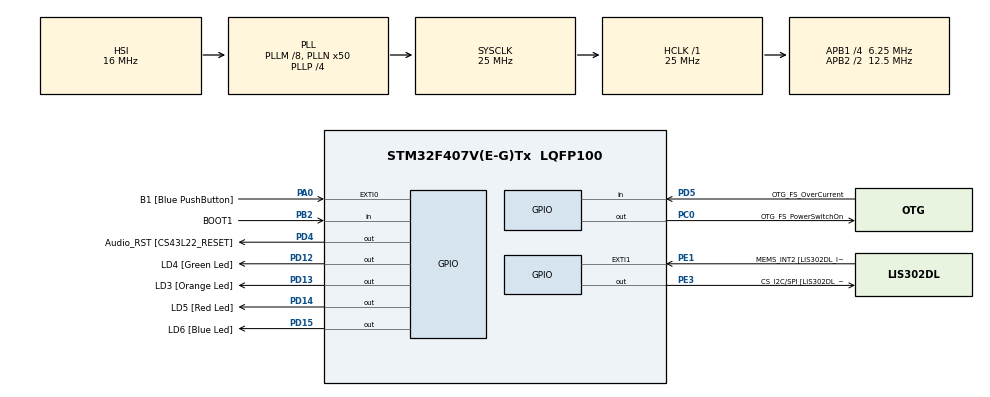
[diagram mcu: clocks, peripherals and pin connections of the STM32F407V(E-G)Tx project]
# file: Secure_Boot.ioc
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Mcu.Family=STM32F4
Mcu.Name=STM32F407V(E-G)Tx
Mcu.Package=LQFP100
NVIC.PriorityGroup=NVIC_PRIORITYGROUP_0
PA0-WKUP.GPIO_Label=B1 [Blue PushButton]
PA0-WKUP.Signal=GPXTI0
PA10.GPIO_Label=OTG_FS_ID
PA10.GPIO_Mode=GPIO_MODE_AF_PP
PA10.GPIO_PuPd=GPIO_NOPULL
PA10.GPIO_Speed=GPIO_SPEED_FREQ_LOW
PA10.Signal=USB_OTG_FS_ID
PA11.GPIO_Label=OTG_FS_DM
PA11.GPIO_Mode=GPIO_MODE_AF_PP
PA11.GPIO_PuPd=GPIO_NOPULL
PA11.GPIO_Speed=GPIO_SPEED_FREQ_LOW
PA11.Signal=USB_OTG_FS_DM
PA12.GPIO_Label=OTG_FS_DP
PA12.GPIO_Mode=GPIO_MODE_AF_PP
PA12.GPIO_PuPd=GPIO_NOPULL
PA12.GPIO_Speed=GPIO_SPEED_FREQ_LOW
PA12.Signal=USB_OTG_FS_DP
PA13.GPIO_Label=SWDIO
PA13.Signal=SYS_JTMS-SWDIO
PA14.GPIO_Label=SWCLK
PA14.Signal=SYS_JTCK-SWCLK
PA4.GPIO_Label=I2S3_WS [CS43L22_LRCK]
PA4.GPIO_Mode=GPIO_MODE_AF_PP
PA4.GPIO_PuPd=GPIO_NOPULL
PA4.GPIO_Speed=GPIO_SPEED_FREQ_LOW
PA4.Signal=I2S3_WS
PA5.GPIO_Label=SPI1_SCK [LIS302DL_SCL/SPC]
PA5.GPIO_Mode=GPIO_MODE_AF_PP
PA5.GPIO_PuPd=GPIO_NOPULL
PA5.GPIO_Speed=GPIO_SPEED_FREQ_LOW
PA5.Signal=SPI1_SCK
PA6.GPIO_Label=SPI1_MISO [LIS302DL_SDO]
PA6.GPIO_Mode=GPIO_MODE_AF_PP
PA6.GPIO_PuPd=GPIO_NOPULL
PA6.GPIO_Speed=GPIO_SPEED_FREQ_LOW
PA6.Signal=SPI1_MISO
PA7.GPIO_Label=SPI1_MOSI [LIS302DL_SDA/SDI/SDO]
PA7.GPIO_Mode=GPIO_MODE_AF_PP
PA7.GPIO_PuPd=GPIO_NOPULL
PA7.GPIO_Speed=GPIO_SPEED_FREQ_LOW
PA7.Signal=SPI1_MOSI
PA9.GPIO_Label=VBUS_FS
PA9.GPIO_Mode=GPIO_MODE_INPUT
PA9.GPIO_PuPd=GPIO_NOPULL
PA9.Signal=USB_OTG_FS_VBUS
PB10.GPIO_Label=CLK_IN [MP45DT02_CLK]
PB10.GPIO_Mode=GPIO_MODE_AF_PP
PB10.GPIO_PuPd=GPIO_NOPULL
PB10.GPIO_Speed=GPIO_SPEED_FREQ_LOW
PB10.Signal=I2S2_CK
PB2.GPIO_Label=BOOT1
PB2.GPIO_Mode=GPIO_MODE_INPUT
PB2.GPIO_PuPd=GPIO_NOPULL
PB2.Signal=GPIO_Input
PB3.GPIO_Label=SWO
PB3.Signal=SYS_JTDO-SWO
PB6.GPIO_Label=Audio_SCL [CS43L22_SCL]
PB6.GPIO_Mode=GPIO_MODE_AF_OD
PB6.GPIO_PuPd=GPIO_NOPULL
PB6.GPIO_Speed=GPIO_SPEED_FREQ_LOW
PB6.Signal=I2C1_SCL
PB9.GPIO_Label=Audio_SDA [CS43L22_SDA]
PB9.GPIO_Mode=GPIO_MODE_AF_OD
PB9.GPIO_PuPd=GPIO_NOPULL
PB9.GPIO_Speed=GPIO_SPEED_FREQ_LOW
PB9.Signal=I2C1_SDA
PC0.GPIO_Label=OTG_FS_PowerSwitchOn
PC0.GPIO_PuPd=GPIO_NOPULL
PC0.GPIO_Speed=GPIO_SPEED_FREQ_LOW
PC0.PinState=GPIO_PIN_SET
PC0.Signal=GPIO_Output
PC10.GPIO_Label=I2S3_SCK [CS43L22_SCLK]
PC10.GPIO_Mode=GPIO_MODE_AF_PP
PC10.GPIO_PuPd=GPIO_NOPULL
PC10.GPIO_Speed=GPIO_SPEED_FREQ_LOW
PC10.Signal=I2S3_CK
PC12.GPIO_Label=I2S3_SD [CS43L22_SDIN]
PC12.GPIO_Mode=GPIO_MODE_AF_PP
PC12.GPIO_PuPd=GPIO_NOPULL
PC12.GPIO_Speed=GPIO_SPEED_FREQ_LOW
PC12.Signal=I2S3_SD
PC14-OSC32_IN.GPIO_Label=PC14-OSC32_IN
PC14-OSC32_IN.Signal=RCC_OSC32_IN
PC15-OSC32_OUT.GPIO_Label=PC15-OSC32_OUT
PC15-OSC32_OUT.Signal=RCC_OSC32_OUT
PC3.GPIO_Label=PDM_OUT [MP45DT02_DOUT]
PC3.GPIO_Mode=GPIO_MODE_AF_PP
PC3.GPIO_PuPd=GPIO_NOPULL
PC3.GPIO_Speed=GPIO_SPEED_FREQ_LOW
PC3.Signal=I2S2_SD
PC7.GPIO_Label=I2S3_MCK [CS43L22_MCLK]
PC7.GPIO_Mode=GPIO_MODE_AF_PP
PC7.GPIO_PuPd=GPIO_NOPULL
PC7.GPIO_Speed=GPIO_SPEED_FREQ_LOW
PC7.Signal=I2S3_MCK
PD12.GPIO_Label=LD4 [Green Led]
PD12.GPIO_PuPd=GPIO_NOPULL
PD12.GPIO_Speed=GPIO_SPEED_FREQ_LOW
PD12.Signal=GPIO_Output
PD13.GPIO_Label=LD3 [Orange Led]
PD13.GPIO_PuPd=GPIO_NOPULL
PD13.GPIO_Speed=GPIO_SPEED_FREQ_LOW
PD13.Signal=GPIO_Output
PD14.GPIO_Label=LD5 [Red Led]
PD14.GPIO_PuPd=GPIO_NOPULL
PD14.GPIO_Speed=GPIO_SPEED_FREQ_LOW
PD14.Signal=GPIO_Output
PD15.GPIO_Label=LD6 [Blue Led]
PD15.GPIO_PuPd=GPIO_NOPULL
PD15.GPIO_Speed=GPIO_SPEED_FREQ_LOW
PD15.Signal=GPIO_Output
PD4.GPIO_Label=Audio_RST [CS43L22_RESET]
PD4.GPIO_PuPd=GPIO_NOPULL
PD4.GPIO_Speed=GPIO_SPEED_FREQ_LOW
PD4.Signal=GPIO_Output
PD5.GPIO_Label=OTG_FS_OverCurrent
PD5.GPIO_Mode=GPIO_MODE_INPUT
PD5.GPIO_PuPd=GPIO_NOPULL
PD5.Signal=GPIO_Input
PE1.GPIO_Label=MEMS_INT2 [LIS302DL_INT2]
PE1.GPIO_ModeDefaultEXTI=GPIO_MODE_EVT_RISING
PE1.GPIO_PuPd=GPIO_NOPULL
PE1.Signal=GPXTI1
PE3.GPIO_Label=CS_I2C/SPI [LIS302DL_CS_I2C/SPI]
PE3.GPIO_PuPd=GPIO_NOPULL
PE3.GPIO_Speed=GPIO_SPEED_FREQ_LOW
PE3.Signal=GPIO_Output
PH0-OSC_IN.GPIO_Label=PH0-OSC_IN
PH0-OSC_IN.Signal=RCC_OSC_IN
PH1-OSC_OUT.GPIO_Label=PH1-OSC_OUT
PH1-OSC_OUT.Signal=RCC_OSC_OUT
ProjectManager.HeapSize=0x200
ProjectManager.StackSize=0x400
ProjectManager.TargetToolchain=STM32CubeIDE
RCC.48MHZClocksFreq_Value=14285714.285714285
RCC.AHBFreq_Value=25000000
RCC.APB1CLKDivider=RCC_HCLK_DIV4
RCC.APB1Freq_Value=6250000
RCC.APB1TimFreq_Value=12500000
RCC.APB2CLKDivider=RCC_HCLK_DIV2
RCC.APB2Freq_Value=12500000
RCC.APB2TimFreq_Value=25000000
RCC.CortexFreq_Value=25000000
RCC.HCLKFreq_Value=25000000
RCC.HSE_VALUE=8000000
RCC.HSI_VALUE=16000000
RCC.LSE_VALUE=32768
RCC.PLLM=8
RCC.PLLN=50
RCC.PLLP=RCC_PLLP_DIV4
RCC.PLLQ=7
RCC.SYSCLKFreq_VALUE=25000000
RCC.SYSCLKSource=RCC_SYSCLKSOURCE_PLLCLK
RCC.VCOOutputFreq_Value=100000000
board=STM32F407G-DISC1

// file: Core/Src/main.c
/* USER CODE BEGIN Header */
/**
  ******************************************************************************
  * @file           : main.c
  * @brief          : Main program body
  ******************************************************************************
  * @attention
  *
  * Copyright (c) 2026 STMicroelectronics.
  * All rights reserved.
  *
  * This software is licensed under terms that can be found in the LICENSE file
  * in the root directory of this software component.
  * If no LICENSE file comes with this software, it is provided AS-IS.
  *
  ******************************************************************************
  */
/* USER CODE END Header */
#include <app_image_info.h>
#include "main.h"

/* USER CODE BEGIN Includes */
#include <stdio.h>
#include <string.h>
#include <stdbool.h>
#include "sha256.h"
#include "metadata.h"
#include "flash_storage.h"
#include "image_validation.h"
/* USER CODE END Includes */

/* USER CODE BEGIN PM */
#define SRAM_START_ADDRESS                 0x20000000U
#define SRAM_END_ADDRESS                   0x20020000U

#define CANDIDATE_IMAGE_START              0x08010000U
#define CANDIDATE_IMAGE_REGION_END         0x08020000U

#define FLASH_ACTIVE_METADATA_ADDRESS      0x08008000U
#define FLASH_CANDIDATE_METADATA_ADDRESS   0x0800C000U

#define ACTIVE_IMAGE_REGION_END  0x08100000U

//#define UPDATE_SECTOR_2
/* USER CODE END PM */

void SystemClock_Config(void);
static void MX_GPIO_Init(void);
/* USER CODE BEGIN PFP */
static void JumpToApplication(uint32_t image_start, uint32_t image_end);
static HAL_StatusTypeDef UpdateActiveMetadata(
    const uint8_t *digest) __attribute__((unused));
static void Bootloader_FailSafe(void);
/* USER CODE END PFP */

int main(void)
{

  /* USER CODE BEGIN 1 */
  firmware_metadata_t active_metadata;
  firmware_metadata_t candidate_metadata;

  HAL_StatusTypeDef status;

  bool candidate_metadata_valid = false;

  uint8_t candidate_digest[SHA256_DIGEST_SIZE];
  uint32_t candidate_image_end;
  uint8_t active_digest[SHA256_DIGEST_SIZE];
  /* USER CODE END 1 */

  /* MCU Configuration--------------------------------------------------------*/

  /* Reset of all peripherals, Initializes the Flash interface and the Systick. */
  HAL_Init();

  /* Configure the system clock */
  SystemClock_Config();

  /* Initialize all configured peripherals */
  MX_GPIO_Init();
  /* USER CODE BEGIN 2 */

  #ifdef UPDATE_SECTOR_2

      uint8_t metadata_digest[SHA256_DIGEST_SIZE];

      printf("Updating active metadata in Sector 2\r\n");

      /*
       * Calculate SHA-256 of the current active image.
       */
      ImageValidation_CalculateSHA256(
          APP_IMAGE_START,
          APP_IMAGE_SIZE,
          metadata_digest);

      /*
       * Erase Sector 2 and program active metadata.
       */
      status = UpdateActiveMetadata(metadata_digest);

      if (status != HAL_OK)
      {
          printf("Failed to update active metadata\r\n");
          Bootloader_FailSafe();
      }

      printf("Active metadata updated successfully\r\n");

      /*
       * Stop here.
       * Do not execute the normal bootloader flow.
       */
      while (1)
      {
      }

  #else

      /* Read Active Image Metadata */

      status = FlashStorage_ReadMetadata(
          FLASH_ACTIVE_METADATA_ADDRESS,
          &active_metadata);

      if (status != HAL_OK)
      {
          printf("Failed to read active metadata\r\n");
          Bootloader_FailSafe();
      }

      if (!Metadata_Validate(&active_metadata,
                             APP_IMAGE_START,
                             ACTIVE_IMAGE_REGION_END))
      {
          printf("Invalid Active Image Metadata\r\n");
          Bootloader_FailSafe();
      }

      /* Read Candidate Image Metadata */

      status = FlashStorage_ReadMetadata(
          FLASH_CANDIDATE_METADATA_ADDRESS,
          &candidate_metadata);

      if (status != HAL_OK)
      {
          printf("Failed to read candidate metadata\r\n");
          candidate_metadata_valid = false;
      }
      else
      {
          candidate_metadata_valid =
              Metadata_Validate(&candidate_metadata,
                                CANDIDATE_IMAGE_START,
                                CANDIDATE_IMAGE_REGION_END);

          if (!candidate_metadata_valid)
          {
              printf("Invalid Candidate Image Metadata\r\n");
          }
      }

      /* Handle Candidate Image */

      if (candidate_metadata_valid &&
          Metadata_IsCandidateNewer(&active_metadata,
                                    &candidate_metadata))
      {
          printf("New candidate firmware detected\r\n");

          candidate_image_end =
              CANDIDATE_IMAGE_START +
              candidate_metadata.image_size;

          printf("Calculating candidate SHA-256\r\n");

          ImageValidation_CalculateSHA256(
              CANDIDATE_IMAGE_START,
              candidate_metadata.image_size,
              candidate_digest);

          if (ImageValidation_VerifySHA256(
                  candidate_digest,
                  candidate_metadata.sha256))
          {
              printf("Candidate SHA-256 matched\r\n");
              printf("Booting candidate image\r\n");

              JumpToApplication(
                  CANDIDATE_IMAGE_START,
                  candidate_image_end);
          }
          else
          {
              printf("Candidate SHA-256 mismatch\r\n");
              printf("Candidate image rejected\r\n");
          }
      }

      /* Verify Active Image and use it as fallback */

      {
          uint32_t active_image_end =
              APP_IMAGE_START + active_metadata.image_size;

          printf("Calculating active SHA-256\r\n");

          ImageValidation_CalculateSHA256(
              APP_IMAGE_START,
              active_metadata.image_size,
              active_digest);

          if (ImageValidation_VerifySHA256(
                  active_digest,
                  active_metadata.sha256))
          {
              printf("Active SHA-256 matched\r\n");

              JumpToApplication(
                  APP_IMAGE_START,
                  active_image_end);
          }

          printf("Active SHA-256 mismatch\r\n");
          Bootloader_FailSafe();
      }

  #endif

  /* USER CODE END 2 */

  /* Infinite loop */
  while (1)
  {

  }
}

void SystemClock_Config(void)
{
  RCC_OscInitTypeDef RCC_OscInitStruct = {0};
  RCC_ClkInitTypeDef RCC_ClkInitStruct = {0};

  /** Configure the main internal regulator output voltage
  */
  __HAL_RCC_PWR_CLK_ENABLE();
  __HAL_PWR_VOLTAGESCALING_CONFIG(PWR_REGULATOR_VOLTAGE_SCALE1);

  /** Initializes the RCC Oscillators according to the specified parameters
  * in the RCC_OscInitTypeDef structure.
  */
  RCC_OscInitStruct.OscillatorType = RCC_OSCILLATORTYPE_HSI;
  RCC_OscInitStruct.HSIState = RCC_HSI_ON;
  RCC_OscInitStruct.HSICalibrationValue = RCC_HSICALIBRATION_DEFAULT;
  RCC_OscInitStruct.PLL.PLLState = RCC_PLL_ON;
  RCC_OscInitStruct.PLL.PLLSource = RCC_PLLSOURCE_HSI;
  RCC_OscInitStruct.PLL.PLLM = 8;
  RCC_OscInitStruct.PLL.PLLN = 50;
  RCC_OscInitStruct.PLL.PLLP = RCC_PLLP_DIV4;
  RCC_OscInitStruct.PLL.PLLQ = 7;
  if (HAL_RCC_OscConfig(&RCC_OscInitStruct) != HAL_OK)
  {
    Error_Handler();
  }

  /** Initializes the CPU, AHB and APB buses clocks
  */
  RCC_ClkInitStruct.ClockType = RCC_CLOCKTYPE_HCLK|RCC_CLOCKTYPE_SYSCLK
                              |RCC_CLOCKTYPE_PCLK1|RCC_CLOCKTYPE_PCLK2;
  RCC_ClkInitStruct.SYSCLKSource = RCC_SYSCLKSOURCE_PLLCLK;
  RCC_ClkInitStruct.AHBCLKDivider = RCC_SYSCLK_DIV1;
  RCC_ClkInitStruct.APB1CLKDivider = RCC_HCLK_DIV4;
  RCC_ClkInitStruct.APB2CLKDivider = RCC_HCLK_DIV2;

  if (HAL_RCC_ClockConfig(&RCC_ClkInitStruct, FLASH_LATENCY_0) != HAL_OK)
  {
    Error_Handler();
  }
}

static void MX_GPIO_Init(void)
{
  GPIO_InitTypeDef GPIO_InitStruct = {0};

  /* GPIO Ports Clock Enable */
  __HAL_RCC_GPIOE_CLK_ENABLE();
  __HAL_RCC_GPIOC_CLK_ENABLE();
  __HAL_RCC_GPIOH_CLK_ENABLE();
  __HAL_RCC_GPIOA_CLK_ENABLE();
  __HAL_RCC_GPIOB_CLK_ENABLE();
  __HAL_RCC_GPIOD_CLK_ENABLE();

  /*Configure GPIO pin Output Level */
  HAL_GPIO_WritePin(CS_I2C_SPI_GPIO_Port, CS_I2C_SPI_Pin, GPIO_PIN_RESET);

  /*Configure GPIO pin Output Level */
  HAL_GPIO_WritePin(OTG_FS_PowerSwitchOn_GPIO_Port, OTG_FS_PowerSwitchOn_Pin, GPIO_PIN_SET);

  /*Configure GPIO pin Output Level */
  HAL_GPIO_WritePin(GPIOD, LD4_Pin|LD3_Pin|LD5_Pin|LD6_Pin
                          |Audio_RST_Pin, GPIO_PIN_RESET);

  /*Configure GPIO pin : CS_I2C_SPI_Pin */
  GPIO_InitStruct.Pin = CS_I2C_SPI_Pin;
  GPIO_InitStruct.Mode = GPIO_MODE_OUTPUT_PP;
  GPIO_InitStruct.Pull = GPIO_NOPULL;
  GPIO_InitStruct.Speed = GPIO_SPEED_FREQ_LOW;
  HAL_GPIO_Init(CS_I2C_SPI_GPIO_Port, &GPIO_InitStruct);

  /*Configure GPIO pin : OTG_FS_PowerSwitchOn_Pin */
  GPIO_InitStruct.Pin = OTG_FS_PowerSwitchOn_Pin;
  GPIO_InitStruct.Mode = GPIO_MODE_OUTPUT_PP;
  GPIO_InitStruct.Pull = GPIO_NOPULL;
  GPIO_InitStruct.Speed = GPIO_SPEED_FREQ_LOW;
  HAL_GPIO_Init(OTG_FS_PowerSwitchOn_GPIO_Port, &GPIO_InitStruct);

  /*Configure GPIO pin : PDM_OUT_Pin */
  GPIO_InitStruct.Pin = PDM_OUT_Pin;
  GPIO_InitStruct.Mode = GPIO_MODE_AF_PP;
  GPIO_InitStruct.Pull = GPIO_NOPULL;
  GPIO_InitStruct.Speed = GPIO_SPEED_FREQ_LOW;
  GPIO_InitStruct.Alternate = GPIO_AF5_SPI2;
  HAL_GPIO_Init(PDM_OUT_GPIO_Port, &GPIO_InitStruct);

  /*Configure GPIO pin : B1_Pin */
  GPIO_InitStruct.Pin = B1_Pin;
  GPIO_InitStruct.Mode = GPIO_MODE_IT_RISING;
  GPIO_InitStruct.Pull = GPIO_NOPULL;
  HAL_GPIO_Init(B1_GPIO_Port, &GPIO_InitStruct);

  /*Configure GPIO pin : I2S3_WS_Pin */
  GPIO_InitStruct.Pin = I2S3_WS_Pin;
  GPIO_InitStruct.Mode = GPIO_MODE_AF_PP;
  GPIO_InitStruct.Pull = GPIO_NOPULL;
  GPIO_InitStruct.Speed = GPIO_SPEED_FREQ_LOW;
  GPIO_InitStruct.Alternate = GPIO_AF6_SPI3;
  HAL_GPIO_Init(I2S3_WS_GPIO_Port, &GPIO_InitStruct);

  /*Configure GPIO pins : SPI1_SCK_Pin SPI1_MISO_Pin SPI1_MOSI_Pin */
  GPIO_InitStruct.Pin = SPI1_SCK_Pin|SPI1_MISO_Pin|SPI1_MOSI_Pin;
  GPIO_InitStruct.Mode = GPIO_MODE_AF_PP;
  GPIO_InitStruct.Pull = GPIO_NOPULL;
  GPIO_InitStruct.Speed = GPIO_SPEED_FREQ_LOW;
  GPIO_InitStruct.Alternate = GPIO_AF5_SPI1;
  HAL_GPIO_Init(GPIOA, &GPIO_InitStruct);

  /*Configure GPIO pin : BOOT1_Pin */
  GPIO_InitStruct.Pin = BOOT1_Pin;
  GPIO_InitStruct.Mode = GPIO_MODE_INPUT;
  GPIO_InitStruct.Pull = GPIO_NOPULL;
  HAL_GPIO_Init(BOOT1_GPIO_Port, &GPIO_InitStruct);

  /*Configure GPIO pin : CLK_IN_Pin */
  GPIO_InitStruct.Pin = CLK_IN_Pin;
  GPIO_InitStruct.Mode = GPIO_MODE_AF_PP;
  GPIO_InitStruct.Pull = GPIO_NOPULL;
  GPIO_InitStruct.Speed = GPIO_SPEED_FREQ_LOW;
  GPIO_InitStruct.Alternate = GPIO_AF5_SPI2;
  HAL_GPIO_Init(CLK_IN_GPIO_Port, &GPIO_InitStruct);

  /*Configure GPIO pins : LD4_Pin LD3_Pin LD5_Pin LD6_Pin
                           Audio_RST_Pin */
  GPIO_InitStruct.Pin = LD4_Pin|LD3_Pin|LD5_Pin|LD6_Pin
                          |Audio_RST_Pin;
  GPIO_InitStruct.Mode = GPIO_MODE_OUTPUT_PP;
  GPIO_InitStruct.Pull = GPIO_NOPULL;
  GPIO_InitStruct.Speed = GPIO_SPEED_FREQ_LOW;
  HAL_GPIO_Init(GPIOD, &GPIO_InitStruct);

  /*Configure GPIO pins : I2S3_MCK_Pin I2S3_SCK_Pin I2S3_SD_Pin */
  GPIO_InitStruct.Pin = I2S3_MCK_Pin|I2S3_SCK_Pin|I2S3_SD_Pin;
  GPIO_InitStruct.Mode = GPIO_MODE_AF_PP;
  GPIO_InitStruct.Pull = GPIO_NOPULL;
  GPIO_InitStruct.Speed = GPIO_SPEED_FREQ_LOW;
  GPIO_InitStruct.Alternate = GPIO_AF6_SPI3;
  HAL_GPIO_Init(GPIOC, &GPIO_InitStruct);

  /*Configure GPIO pin : VBUS_FS_Pin */
  GPIO_InitStruct.Pin = VBUS_FS_Pin;
  GPIO_InitStruct.Mode = GPIO_MODE_INPUT;
  GPIO_InitStruct.Pull = GPIO_NOPULL;
  HAL_GPIO_Init(VBUS_FS_GPIO_Port, &GPIO_InitStruct);

  /*Configure GPIO pins : OTG_FS_ID_Pin OTG_FS_DM_Pin OTG_FS_DP_Pin */
  GPIO_InitStruct.Pin = OTG_FS_ID_Pin|OTG_FS_DM_Pin|OTG_FS_DP_Pin;
  GPIO_InitStruct.Mode = GPIO_MODE_AF_PP;
  GPIO_InitStruct.Pull = GPIO_NOPULL;
  GPIO_InitStruct.Speed = GPIO_SPEED_FREQ_LOW;
  GPIO_InitStruct.Alternate = GPIO_AF10_OTG_FS;
  HAL_GPIO_Init(GPIOA, &GPIO_InitStruct);

  /*Configure GPIO pin : OTG_FS_OverCurrent_Pin */
  GPIO_InitStruct.Pin = OTG_FS_OverCurrent_Pin;
  GPIO_InitStruct.Mode = GPIO_MODE_INPUT;
  GPIO_InitStruct.Pull = GPIO_NOPULL;
  HAL_GPIO_Init(OTG_FS_OverCurrent_GPIO_Port, &GPIO_InitStruct);

  /*Configure GPIO pins : Audio_SCL_Pin Audio_SDA_Pin */
  GPIO_InitStruct.Pin = Audio_SCL_Pin|Audio_SDA_Pin;
  GPIO_InitStruct.Mode = GPIO_MODE_AF_OD;
  GPIO_InitStruct.Pull = GPIO_NOPULL;
  GPIO_InitStruct.Speed = GPIO_SPEED_FREQ_LOW;
  GPIO_InitStruct.Alternate = GPIO_AF4_I2C1;
  HAL_GPIO_Init(GPIOB, &GPIO_InitStruct);

  /*Configure GPIO pin : MEMS_INT2_Pin */
  GPIO_InitStruct.Pin = MEMS_INT2_Pin;
  GPIO_InitStruct.Mode = GPIO_MODE_EVT_RISING;
  GPIO_InitStruct.Pull = GPIO_NOPULL;
  HAL_GPIO_Init(MEMS_INT2_GPIO_Port, &GPIO_InitStruct);

}

/* USER CODE BEGIN 4 */
static void JumpToApplication(uint32_t image_start,
                              uint32_t image_end)
{
    uint32_t app_sp;
    uint32_t app_reset_handler = 0x00U;

    /* Read initial stack pointer from image vector table */
    app_sp = *(volatile uint32_t *)image_start;

    /* Read Reset_Handler address from image vector table */
    app_reset_handler =
        *(volatile uint32_t *)(image_start + 4U);

    /* Validate Application Stack Pointer */
    if ((app_sp < SRAM_START_ADDRESS) ||
        (app_sp > SRAM_END_ADDRESS))
    {
        printf("Invalid Application Stack Pointer\r\n");
        return;
    }

    /* Validate Reset_Handler address */
    if ((app_reset_handler < image_start) ||
        (app_reset_handler >= image_end))
    {
        printf("Invalid Application Reset Handler\r\n");
        return;
    }

    /* Reset_Handler must be Thumb code */
    if ((app_reset_handler & 1U) == 0U)
    {
        printf("Invalid Reset Handler: Thumb bit not set\r\n");
        return;
    }

    /* Point Cortex-M to the selected application's vector table */
    SCB->VTOR = image_start;

    /* Load application stack pointer */
    __set_MSP(app_sp);

    /* Jump to application Reset_Handler */
    void (*reset_handler)(void) =
        (void (*)(void))app_reset_handler;

    reset_handler();
}

/**
 * @brief  Update Active Image metadata in Sector 2.
 * @param  digest SHA-256 digest of the Active Image.
 * @retval HAL_OK if metadata was erased and programmed successfully.
 */
static HAL_StatusTypeDef UpdateActiveMetadata(
    const uint8_t *digest)
{
    firmware_metadata_t metadata;
    HAL_StatusTypeDef status;

    if (digest == NULL)
    {
        return HAL_ERROR;
    }

    metadata.magic = FIRMWARE_METADATA_MAGIC;
    metadata.image_size = APP_IMAGE_SIZE;
    metadata.version = 0U;

    memcpy(metadata.sha256,
           digest,
           SHA256_DIGEST_SIZE);

    metadata.update_state = 2U;

    status = FlashStorage_EraseSector(
        FLASH_SECTOR_2,
        FLASH_VOLTAGE_RANGE_3);

    if (status != HAL_OK)
    {
        return status;
    }

    return FlashStorage_ProgramMetadata(
        FLASH_ACTIVE_METADATA_ADDRESS,
        &metadata);
}

/**
 * @brief  Keep the bootloader in a safe state when no valid
 *         firmware image is available.
 * @retval None
 */
static void Bootloader_FailSafe(void)
{
    printf("Bootloader: no valid firmware image\r\n");

    while (1)
    {
        HAL_GPIO_TogglePin(GPIOD, LD4_Pin);
        HAL_Delay(500);
    }
}
/* USER CODE END 4 */

void Error_Handler(void)
{
  __disable_irq();
  while (1)
  {
  }
}
